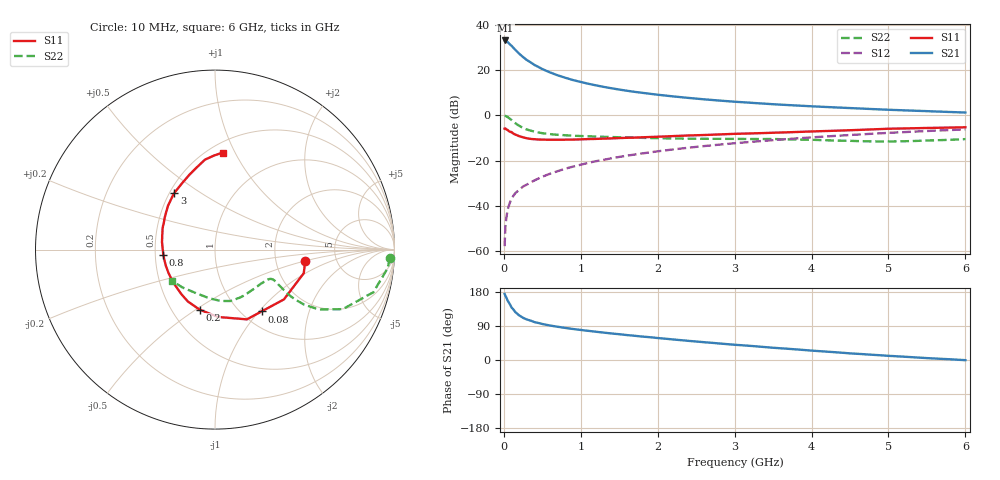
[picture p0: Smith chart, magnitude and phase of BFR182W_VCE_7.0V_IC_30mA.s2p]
! Infineon Technologies  Discrete & RF Semiconductors
! BFR182W
! VCE =  7.0 V,  IC =  30 mA
! Common Emitter S-Parameters:  Jan 2017
# GHz  S  MA  R  50
!  f  S11  S21  S12  S22
! GHz  MAG  ANG  MAG  ANG  MAG  ANG  MAG  ANG
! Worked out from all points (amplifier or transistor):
!   77 points, 10 MHz to 6 GHz, reference 50 ohm
!   highest |S21| = 33.0 dB at 20 MHz (marker M1)
!   |S21| within 3 dB of that: start of sweep to 118.2 MHz
!   unconditionally stable (mu >= 1): 678.7 MHz to 2.228 GHz
!   at 130 MHz: K = 0.49, MSG = 32.4 dB, |S12| = -35.2 dB
!   at 2.2 GHz: K = 1.00, MAG = 11.4 dB, |S12| = -15.1 dB
!   at 6 GHz: K = 0.86, MSG = 3.7 dB, |S12| = -6.2 dB
!   S11 on the Smith chart (normalised r, x): 10 MHz: 2.96, -0.51; 80 MHz: 1.22, -1.03; 200 MHz: 0.68, -0.52; 800 MHz: 0.55, -0.03; 3 GHz: 0.53, +0.40; 6 GHz: 0.59, +0.90
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0.01  0.507 -7.2  44.45 174.3  0.0013 85.6  0.9764 -2.7
0.02  0.5117 -14.9  44.52 169.9  0.0034 92.4  0.967 -6.2
0.05  0.4737 -35.9  41.02 156.5  0.0083 75.9  0.9136 -15.1
0.08  0.4314 -53.0  36.37 146.6  0.012 73.9  0.8333 -20.7
0.1  0.4273 -65.5  34.01 138.6  0.0144 73.2  0.7848 -25.0
0.15  0.3754 -87.6  27.58 126.2  0.0193 67.9  0.6668 -30.0
0.2  0.3455 -104.2  22.71 117.7  0.0226 67.7  0.5844 -31.7
0.25  0.3263 -117.6  19.16 111.3  0.0269 67.3  0.5256 -31.9
0.3  0.3105 -127.4  16.42 106.8  0.0297 67.5  0.4834 -31.5
0.4  0.296 -142.4  12.79 99.9  0.0367 69.5  0.4326 -30.0
0.5  0.29 -153.3  10.41 95.0  0.0441 70.8  0.4022 -28.8
0.6  0.2883 -161.9  8.794 91.0  0.0514 71.2  0.3839 -27.9
0.7  0.2879 -168.5  7.591 87.7  0.0586 72.5  0.3708 -27.4
0.8  0.2894 -174.4  6.692 84.6  0.0665 73.2  0.3619 -27.3
1.1  0.2983 171.8  4.939 76.9  0.0896 72.9  0.3439 -28.5
1.5  0.3138 158.7  3.682 68.0  0.1205 71.5  0.3273 -32.8
2.1  0.341 143.3  2.716 56.2  0.1682 68.1  0.31 -43.0
3  0.3892 125.5  1.987 40.2  0.2413 61.6  0.3013 -62.6
3.1  0.3929 123.7  1.937 38.8  0.2495 60.7  0.3001 -64.6
4.1  0.4443 108.0  1.546 23.4  0.3333 52.0  0.284 -86.1
5.1  0.5077 95.2  1.302 9.9  0.4167 42.4  0.2653 -116.8
6  0.5428 85.3  1.147 -0.4  0.4875 33.1  0.2977 -144.4
